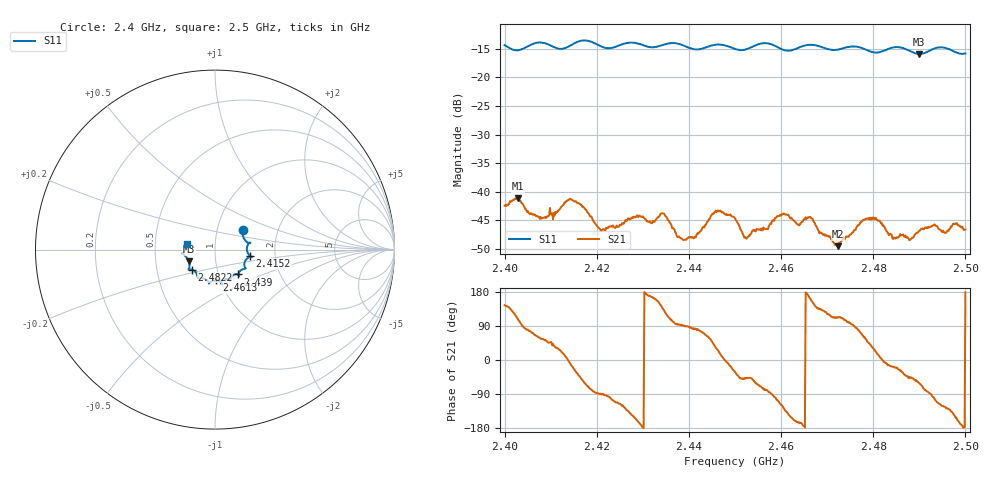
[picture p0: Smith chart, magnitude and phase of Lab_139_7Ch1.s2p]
# Hz S RI R 50
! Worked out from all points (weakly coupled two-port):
!   601 points, 2.4 GHz to 2.5 GHz, reference 50 ohm
!   highest |S21| = -41.12 dB at 2.4028 GHz (marker M1); lowest = -49.5 dB at 2.4723 GHz (marker M2)
!   lowest |S11| = -15.9 dB at 2.4898 GHz (marker M3), VSWR 1.38, Z = 37 - j5.03 ohm
!   |S11| at or under -10 dB: start of sweep to end of sweep
!   S12 and S22 are empty: the file has one direction only
!   S11 on the Smith chart (normalised r, x): 2.4 GHz: 1.33, +0.31; 2.4152 GHz: 1.48, -0.11; 2.439 GHz: 1.24, -0.36; 2.4613 GHz: 0.96, -0.34; 2.4822 GHz: 0.76, -0.17; 2.5 GHz: 0.72, +0.05
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2.4e9  0.1557 0.111  -0.00617 0.00439  0 0  0 0
2.402833e9  0.16 0.064  -0.00285 0.00831  0 0  0 0
2.408167e9  0.1972 0.0398  0.00337 0.00485  0 0  0 0
2.415167e9  0.1951 -0.0358  0.00741 -0.00352  0 0  0 0
2.416667e9  0.2051 -0.0418  0.00495 -0.00592  0 0  0 0
2.421333e9  0.1758 -0.0526  7.37e-05 -0.00471  0 0  0 0
2.433333e9  0.1319 -0.1322  -0.00541 0.0027  0 0  0 0
2.434667e9  0.1311 -0.1428  -0.00412 0.00493  0 0  0 0
2.439e9  0.128 -0.1385  5.57e-05 0.00381  0 0  0 0
2.446e9  0.0853 -0.1736  0.00576 0.0033  0 0  0 0
2.45e9  0.0688 -0.1636  0.00503 -0.00302  0 0  0 0
2.4525e9  0.0422 -0.171  0.00265 -0.00285  0 0  0 0
2.461333e9  0.00725 -0.1709  -0.0047 -0.00417  0 0  0 0
2.463667e9  -0.0243 -0.1791  -0.00498 -0.00136  0 0  0 0
2.466667e9  -0.0336 -0.1897  -0.00531 0.00246  0 0  0 0
2.472333e9  -0.0695 -0.1603  -0.00133 0.00307  0 0  0 0
2.478167e9  -0.0973 -0.1471  0.00283 0.00493  0 0  0 0
2.482167e9  -0.1281 -0.1118  0.00509 -0.000225  0 0  0 0
2.483333e9  -0.1394 -0.1101  0.00408 -0.000992  0 0  0 0
2.488167e9  -0.142 -0.0908  0.00268 -0.00278  0 0  0 0
2.489833e9  -0.1455 -0.0662  0.00225 -0.00389  0 0  0 0
2.5e9  -0.1585 0.0334  -0.00468 0.000129  0 0  0 0
